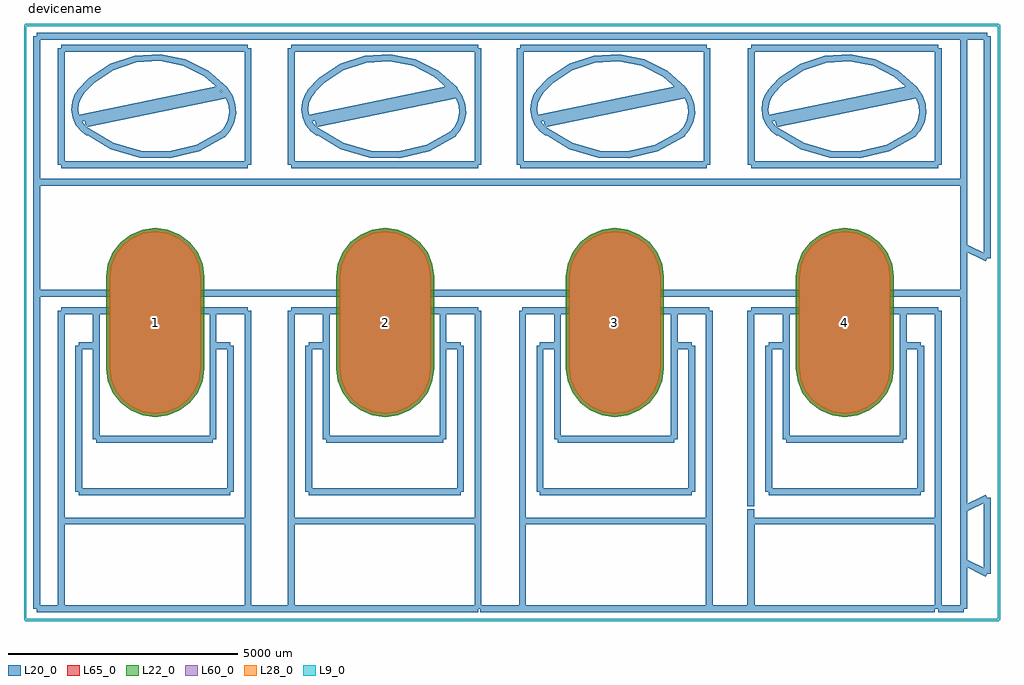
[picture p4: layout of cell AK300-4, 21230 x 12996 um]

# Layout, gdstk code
import gdstk
lib = gdstk.Library(unit=1e-6, precision=1e-09)
def P(c, l, *ps):  # polygons
    for p in ps: c.add(gdstk.Polygon(p, *l))
L9_0 = (9, 0)
L20_0 = (20, 0)
L22_0 = (22, 0)
L28_0 = (28, 0)
L60_0 = (60, 0)
L65_0 = (65, 0)

ak300_4 = lib.new_cell('AK300-4')
P(ak300_4, L22_0, [(10000,-2056.2),(10275.798,-2019.891),(10532.8,-1913.437),(10753.493,-1744.093),(10922.837,-1523.4),(11029.291,-1266.398),(11065.6,-990.6),(11065.6,990.6),(11029.291,1266.398),(10922.837,1523.4),(10753.493,1744.093),(10532.8,1913.437),(10275.798,2019.891),(10000,2056.2),(9724.202,2019.891),(9467.2,1913.437),(9246.507,1744.093),(9077.163,1523.4),(8970.709,1266.398),(8934.4,990.6),(8934.4,-990.6),(8970.709,-1266.398),(9077.163,-1523.4),(9246.507,-1744.093),(9467.2,-1913.437),(9724.202,-2019.891)],
  [(15000,-2056.2),(15275.798,-2019.891),(15532.8,-1913.437),(15753.493,-1744.093),(15922.837,-1523.4),(16029.291,-1266.398),(16065.6,-990.6),(16065.6,990.6),(16029.291,1266.398),(15922.837,1523.4),(15753.493,1744.093),(15532.8,1913.437),(15275.798,2019.891),(15000,2056.2),(14724.202,2019.891),(14467.2,1913.437),(14246.507,1744.093),(14077.163,1523.4),(13970.709,1266.398),(13934.4,990.6),(13934.4,-990.6),(13970.709,-1266.398),(14077.163,-1523.4),(14246.507,-1744.093),(14467.2,-1913.437),(14724.202,-2019.891)],
  [(5000,-2056.2),(5275.798,-2019.891),(5532.8,-1913.437),(5753.493,-1744.093),(5922.837,-1523.4),(6029.291,-1266.398),(6065.6,-990.6),(6065.6,990.6),(6029.291,1266.398),(5922.837,1523.4),(5753.493,1744.093),(5532.8,1913.437),(5275.798,2019.891),(5000,2056.2),(4724.202,2019.891),(4467.2,1913.437),(4246.507,1744.093),(4077.163,1523.4),(3970.709,1266.398),(3934.4,990.6),(3934.4,-990.6),(3970.709,-1266.398),(4077.163,-1523.4),(4246.507,-1744.093),(4467.2,-1913.437),(4724.202,-2019.891)],
  [(0,-2056.2),(275.798,-2019.891),(532.8,-1913.437),(753.493,-1744.093),(922.837,-1523.4),(1029.291,-1266.398),(1065.6,-990.6),(1065.6,990.6),(1029.291,1266.398),(922.837,1523.4),(753.493,1744.093),(532.8,1913.437),(275.798,2019.891),(0,2056.2),(-275.798,2019.891),(-532.8,1913.437),(-753.493,1744.093),(-922.837,1523.4),(-1029.291,1266.398),(-1065.6,990.6),(-1065.6,-990.6),(-1029.291,-1266.398),(-922.837,-1523.4),(-753.493,-1744.093),(-532.8,-1913.437),(-275.798,-2019.891)])
P(ak300_4, L28_0, [(10000,-1981.2),(10256.386,-1947.446),(10495.3,-1848.485),(10700.46,-1691.06),(10857.885,-1485.9),(10956.846,-1246.986),(10990.6,-990.6),(10990.6,990.6),(10956.846,1246.986),(10857.885,1485.9),(10700.46,1691.06),(10495.3,1848.485),(10256.386,1947.446),(10000,1981.2),(9743.614,1947.446),(9504.7,1848.485),(9299.54,1691.06),(9142.115,1485.9),(9043.154,1246.986),(9009.4,990.6),(9009.4,-990.6),(9043.154,-1246.986),(9142.115,-1485.9),(9299.54,-1691.06),(9504.7,-1848.485),(9743.614,-1947.446)],
  [(15000,-1981.2),(15256.386,-1947.446),(15495.3,-1848.485),(15700.46,-1691.06),(15857.885,-1485.9),(15956.846,-1246.986),(15990.6,-990.6),(15990.6,990.6),(15956.846,1246.986),(15857.885,1485.9),(15700.46,1691.06),(15495.3,1848.485),(15256.386,1947.446),(15000,1981.2),(14743.614,1947.446),(14504.7,1848.485),(14299.54,1691.06),(14142.115,1485.9),(14043.154,1246.986),(14009.4,990.6),(14009.4,-990.6),(14043.154,-1246.986),(14142.115,-1485.9),(14299.54,-1691.06),(14504.7,-1848.485),(14743.614,-1947.446)],
  [(5000,-1981.2),(5256.386,-1947.446),(5495.3,-1848.485),(5700.46,-1691.06),(5857.885,-1485.9),(5956.846,-1246.986),(5990.6,-990.6),(5990.6,990.6),(5956.846,1246.986),(5857.885,1485.9),(5700.46,1691.06),(5495.3,1848.485),(5256.386,1947.446),(5000,1981.2),(4743.614,1947.446),(4504.7,1848.485),(4299.54,1691.06),(4142.115,1485.9),(4043.154,1246.986),(4009.4,990.6),(4009.4,-990.6),(4043.154,-1246.986),(4142.115,-1485.9),(4299.54,-1691.06),(4504.7,-1848.485),(4743.614,-1947.446)],
  [(0,-1981.2),(256.386,-1947.446),(495.3,-1848.485),(700.46,-1691.06),(857.885,-1485.9),(956.846,-1246.986),(990.6,-990.6),(990.6,990.6),(956.846,1246.986),(857.885,1485.9),(700.46,1691.06),(495.3,1848.485),(256.386,1947.446),(0,1981.2),(-256.386,1947.446),(-495.3,1848.485),(-700.46,1691.06),(-857.885,1485.9),(-956.846,1246.986),(-990.6,990.6),(-990.6,-990.6),(-956.846,-1246.986),(-857.885,-1485.9),(-700.46,-1691.06),(-495.3,-1848.485),(-256.386,-1947.446)])
P(ak300_4, L60_0, [(10000,-1981.2),(10256.386,-1947.446),(10495.3,-1848.485),(10700.46,-1691.06),(10857.885,-1485.9),(10956.846,-1246.986),(10990.6,-990.6),(10990.6,990.6),(10956.846,1246.986),(10857.885,1485.9),(10700.46,1691.06),(10495.3,1848.485),(10256.386,1947.446),(10000,1981.2),(9743.614,1947.446),(9504.7,1848.485),(9299.54,1691.06),(9142.115,1485.9),(9043.154,1246.986),(9009.4,990.6),(9009.4,-990.6),(9043.154,-1246.986),(9142.115,-1485.9),(9299.54,-1691.06),(9504.7,-1848.485),(9743.614,-1947.446)],
  [(15000,-1981.2),(15256.386,-1947.446),(15495.3,-1848.485),(15700.46,-1691.06),(15857.885,-1485.9),(15956.846,-1246.986),(15990.6,-990.6),(15990.6,990.6),(15956.846,1246.986),(15857.885,1485.9),(15700.46,1691.06),(15495.3,1848.485),(15256.386,1947.446),(15000,1981.2),(14743.614,1947.446),(14504.7,1848.485),(14299.54,1691.06),(14142.115,1485.9),(14043.154,1246.986),(14009.4,990.6),(14009.4,-990.6),(14043.154,-1246.986),(14142.115,-1485.9),(14299.54,-1691.06),(14504.7,-1848.485),(14743.614,-1947.446)],
  [(5000,-1981.2),(5256.386,-1947.446),(5495.3,-1848.485),(5700.46,-1691.06),(5857.885,-1485.9),(5956.846,-1246.986),(5990.6,-990.6),(5990.6,990.6),(5956.846,1246.986),(5857.885,1485.9),(5700.46,1691.06),(5495.3,1848.485),(5256.386,1947.446),(5000,1981.2),(4743.614,1947.446),(4504.7,1848.485),(4299.54,1691.06),(4142.115,1485.9),(4043.154,1246.986),(4009.4,990.6),(4009.4,-990.6),(4043.154,-1246.986),(4142.115,-1485.9),(4299.54,-1691.06),(4504.7,-1848.485),(4743.614,-1947.446)],
  [(0,-1981.2),(256.386,-1947.446),(495.3,-1848.485),(700.46,-1691.06),(857.885,-1485.9),(956.846,-1246.986),(990.6,-990.6),(990.6,990.6),(956.846,1246.986),(857.885,1485.9),(700.46,1691.06),(495.3,1848.485),(256.386,1947.446),(0,1981.2),(-256.386,1947.446),(-495.3,1848.485),(-700.46,1691.06),(-857.885,1485.9),(-956.846,1246.986),(-990.6,990.6),(-990.6,-990.6),(-956.846,-1246.986),(-857.885,-1485.9),(-700.46,-1691.06),(-495.3,-1848.485),(-256.386,-1947.446)])
P(ak300_4, L65_0, [(10000,-2056.2),(10275.798,-2019.891),(10532.8,-1913.437),(10753.493,-1744.093),(10922.837,-1523.4),(11029.291,-1266.398),(11065.6,-990.6),(11065.6,990.6),(11029.291,1266.398),(10922.837,1523.4),(10753.493,1744.093),(10532.8,1913.437),(10275.798,2019.891),(10000,2056.2),(9724.202,2019.891),(9467.2,1913.437),(9246.507,1744.093),(9077.163,1523.4),(8970.709,1266.398),(8934.4,990.6),(8934.4,-990.6),(8970.709,-1266.398),(9077.163,-1523.4),(9246.507,-1744.093),(9467.2,-1913.437),(9724.202,-2019.891)],
  [(15000,-2056.2),(15275.798,-2019.891),(15532.8,-1913.437),(15753.493,-1744.093),(15922.837,-1523.4),(16029.291,-1266.398),(16065.6,-990.6),(16065.6,990.6),(16029.291,1266.398),(15922.837,1523.4),(15753.493,1744.093),(15532.8,1913.437),(15275.798,2019.891),(15000,2056.2),(14724.202,2019.891),(14467.2,1913.437),(14246.507,1744.093),(14077.163,1523.4),(13970.709,1266.398),(13934.4,990.6),(13934.4,-990.6),(13970.709,-1266.398),(14077.163,-1523.4),(14246.507,-1744.093),(14467.2,-1913.437),(14724.202,-2019.891)],
  [(5000,-2056.2),(5275.798,-2019.891),(5532.8,-1913.437),(5753.493,-1744.093),(5922.837,-1523.4),(6029.291,-1266.398),(6065.6,-990.6),(6065.6,990.6),(6029.291,1266.398),(5922.837,1523.4),(5753.493,1744.093),(5532.8,1913.437),(5275.798,2019.891),(5000,2056.2),(4724.202,2019.891),(4467.2,1913.437),(4246.507,1744.093),(4077.163,1523.4),(3970.709,1266.398),(3934.4,990.6),(3934.4,-990.6),(3970.709,-1266.398),(4077.163,-1523.4),(4246.507,-1744.093),(4467.2,-1913.437),(4724.202,-2019.891)],
  [(0,-2056.2),(275.798,-2019.891),(532.8,-1913.437),(753.493,-1744.093),(922.837,-1523.4),(1029.291,-1266.398),(1065.6,-990.6),(1065.6,990.6),(1029.291,1266.398),(922.837,1523.4),(753.493,1744.093),(532.8,1913.437),(275.798,2019.891),(0,2056.2),(-275.798,2019.891),(-532.8,1913.437),(-753.493,1744.093),(-922.837,1523.4),(-1029.291,1266.398),(-1065.6,990.6),(-1065.6,-990.6),(-1029.291,-1266.398),(-922.837,-1523.4),(-753.493,-1744.093),(-532.8,-1913.437),(-275.798,-2019.891)])
ak300_4.add(gdstk.FlexPath([(-1589.519,5051.018),(-1679.716,4925.417),(-1734.332,4780.751),(-1749.645,4626.879),(-1724.61,4474.286),(-1660.935,4333.372),(-1562.959,4213.74),(-1444.62,4127.5)], 149.998, ends="flush", simple_path=True, layer=20, datatype=0))  # L20_0
ak300_4.add(gdstk.FlexPath([(1516.572,5061.846),(1113.322,5417.942),(631.648,5657.535),(104.376,5764.298),(-432.563,5730.955),(-942.576,5559.778),(-1390.907,5262.433),(-1640.2,5003.8)], 149.998, ends="flush", simple_path=True, layer=20, datatype=0))  # L20_0
ak300_4.add(gdstk.FlexPath([(-1485.988,4165.105),(-940.856,3835.404),(-328.966,3658.029),(307.983,3645.066),(926.583,3797.399),(1484.679,4104.647),(1501.78,4117.34)], 149.998, ends="flush", simple_path=True, layer=20, datatype=0))  # L20_0
ak300_4.add(gdstk.FlexPath([(1454.149,4082.89),(1571.23,4217.515),(1649.477,4377.855),(1683.56,4552.984),(1671.154,4730.967),(1613.106,4899.675),(1513.37,5047.609),(1509.4,5052.06)], 149.998, ends="flush", simple_path=True, layer=20, datatype=0))  # L20_0
ak300_4.add(gdstk.FlexPath([(3414.904,5053.481),(3324.048,4927.957),(3268.776,4783.195),(3252.854,4629.061),(3277.368,4476.057),(3340.647,4334.612),(3438.379,4214.364),(3556.64,4127.5)], 149.998, ends="flush", simple_path=True, layer=20, datatype=0))  # L20_0
ak300_4.add(gdstk.FlexPath([(6514.41,5056.844),(6112.485,5412.882),(5632.105,5652.762),(5106.009,5760.137),(4570.048,5727.69),(4060.748,5557.631),(3612.816,5261.55),(3363.6,5003.8)], 149.998, ends="flush", simple_path=True, layer=20, datatype=0))  # L20_0
ak300_4.add(gdstk.FlexPath([(3515.272,4165.105),(4060.404,3835.404),(4672.294,3658.029),(5309.243,3645.066),(5927.843,3797.399),(6485.939,4104.647),(6503.04,4117.34)], 149.998, ends="flush", simple_path=True, layer=20, datatype=0))  # L20_0
ak300_4.add(gdstk.FlexPath([(6457.971,4085.43),(6574.394,4219.974),(6652.026,4380.066),(6685.579,4554.796),(6672.765,4732.256),(6614.458,4900.353),(6514.631,5047.632),(6510.66,5052.06)], 149.998, ends="flush", simple_path=True, layer=20, datatype=0))  # L20_0
ak300_4.add(gdstk.FlexPath([(3338.2,254),(6640.2,254)], 149.998, ends="flush", simple_path=True, layer=20, datatype=0))  # L20_0
ak300_4.add(gdstk.FlexPath([(2957.2,254),(3338.2,254)], 149.998, ends="flush", simple_path=True, layer=20, datatype=0))  # L20_0
ak300_4.add(gdstk.FlexPath([(7021.2,254),(6640.2,254)], 149.998, ends="flush", simple_path=True, layer=20, datatype=0))  # L20_0
ak300_4.add(gdstk.FlexPath([(1636.4,254),(-1665.6,254)], 149.998, ends="flush", simple_path=True, layer=20, datatype=0))  # L20_0
ak300_4.add(gdstk.FlexPath([(2017.4,254),(1636.4,254)], 149.998, ends="flush", simple_path=True, layer=20, datatype=0))  # L20_0
ak300_4.add(gdstk.FlexPath([(-2046.6,254),(-1665.6,254)], 149.998, ends="flush", simple_path=True, layer=20, datatype=0))  # L20_0
ak300_4.add(gdstk.FlexPath([(-1513.2,4318),(1534.8,4953)], 149.998, ends="flush", simple_path=True, layer=20, datatype=0))  # L20_0
ak300_4.add(gdstk.FlexPath([(-1640.2,4445),(1410.34,5080)], 149.998, ends="flush", simple_path=True, layer=20, datatype=0))  # L20_0
ak300_4.add(gdstk.FlexPath([(3490.6,4318),(6538.6,4953)], 149.998, ends="flush", simple_path=True, layer=20, datatype=0))  # L20_0
ak300_4.add(gdstk.FlexPath([(3363.6,4445),(6411.6,5080)], 149.998, ends="flush", simple_path=True, layer=20, datatype=0))  # L20_0
ak300_4.add(gdstk.FlexPath([(2017.4,5969),(-2046.6,5969)], 149.998, ends="flush", simple_path=True, layer=20, datatype=0))  # L20_0
ak300_4.add(gdstk.FlexPath([(-2046.6,3429),(-2046.6,5969)], 149.998, ends="flush", simple_path=True, layer=20, datatype=0))  # L20_0
ak300_4.add(gdstk.FlexPath([(2017.4,3429),(-2046.6,3429)], 149.998, ends="flush", simple_path=True, layer=20, datatype=0))  # L20_0
ak300_4.add(gdstk.FlexPath([(2017.4,3429),(2017.4,5969)], 149.998, ends="flush", simple_path=True, layer=20, datatype=0))  # L20_0
ak300_4.add(gdstk.FlexPath([(7021.2,3429),(2957.2,3429)], 149.998, ends="flush", simple_path=True, layer=20, datatype=0))  # L20_0
ak300_4.add(gdstk.FlexPath([(7021.2,5969),(7021.2,3429)], 149.998, ends="flush", simple_path=True, layer=20, datatype=0))  # L20_0
ak300_4.add(gdstk.FlexPath([(2957.2,5969),(7021.2,5969)], 149.998, ends="flush", simple_path=True, layer=20, datatype=0))  # L20_0
ak300_4.add(gdstk.FlexPath([(2957.2,3429),(2957.2,5969)], 149.998, ends="flush", simple_path=True, layer=20, datatype=0))  # L20_0
ak300_4.add(gdstk.FlexPath([(-2580,3175),(-2580,6223)], 149.998, ends="flush", simple_path=True, layer=20, datatype=0))  # L20_0
ak300_4.add(gdstk.FlexPath([(-2580,635),(-2580,3175)], 149.998, ends="flush", simple_path=True, layer=20, datatype=0))  # L20_0
ak300_4.add(gdstk.FlexPath([(-2580,-6223),(-2580,635)], 149.998, ends="flush", simple_path=True, layer=20, datatype=0))  # L20_0
ak300_4.add(gdstk.FlexPath([(6640.2,-508),(6259.2,-508)], 149.998, ends="flush", simple_path=True, layer=20, datatype=0))  # L20_0
ak300_4.add(gdstk.FlexPath([(3338.2,-508),(3719.2,-508)], 149.998, ends="flush", simple_path=True, layer=20, datatype=0))  # L20_0
ak300_4.add(gdstk.FlexPath([(1636.4,-508),(1255.4,-508)], 149.998, ends="flush", simple_path=True, layer=20, datatype=0))  # L20_0
ak300_4.add(gdstk.FlexPath([(-1665.6,-508),(-1284.6,-508)], 149.998, ends="flush", simple_path=True, layer=20, datatype=0))  # L20_0
ak300_4.add(gdstk.FlexPath([(-1665.6,-3683),(-1665.6,-508)], 149.998, ends="flush", simple_path=True, layer=20, datatype=0))  # L20_0
ak300_4.add(gdstk.FlexPath([(1636.4,-3683),(-1665.6,-3683)], 149.998, ends="flush", simple_path=True, layer=20, datatype=0))  # L20_0
ak300_4.add(gdstk.FlexPath([(1636.4,-3683),(1636.4,-508)], 149.998, ends="flush", simple_path=True, layer=20, datatype=0))  # L20_0
ak300_4.add(gdstk.FlexPath([(3338.2,-3683),(3338.2,-508)], 149.998, ends="flush", simple_path=True, layer=20, datatype=0))  # L20_0
ak300_4.add(gdstk.FlexPath([(6640.2,-3683),(3338.2,-3683)], 149.998, ends="flush", simple_path=True, layer=20, datatype=0))  # L20_0
ak300_4.add(gdstk.FlexPath([(6640.2,-3683),(6640.2,-508)], 149.998, ends="flush", simple_path=True, layer=20, datatype=0))  # L20_0
ak300_4.add(gdstk.FlexPath([(-2046.6,-4318),(-2046.6,-6223)], 149.998, ends="flush", simple_path=True, layer=20, datatype=0))  # L20_0
ak300_4.add(gdstk.FlexPath([(2017.4,-4318),(2017.4,254)], 149.998, ends="flush", simple_path=True, layer=20, datatype=0))  # L20_0
ak300_4.add(gdstk.FlexPath([(2017.4,-4318),(-2046.6,-4318)], 149.998, ends="flush", simple_path=True, layer=20, datatype=0))  # L20_0
ak300_4.add(gdstk.FlexPath([(7021.2,-4318),(7021.2,-6223)], 149.998, ends="flush", simple_path=True, layer=20, datatype=0))  # L20_0
ak300_4.add(gdstk.FlexPath([(2957.2,-4318),(2957.2,254)], 149.998, ends="flush", simple_path=True, layer=20, datatype=0))  # L20_0
ak300_4.add(gdstk.FlexPath([(2957.2,-4318),(7021.2,-4318)], 149.998, ends="flush", simple_path=True, layer=20, datatype=0))  # L20_0
ak300_4.add(gdstk.FlexPath([(-2046.6,-6223),(2017.4,-6223)], 149.998, ends="flush", simple_path=True, layer=20, datatype=0))  # L20_0
ak300_4.add(gdstk.FlexPath([(-2580,-6223),(-2046.6,-6223)], 149.998, ends="flush", simple_path=True, layer=20, datatype=0))  # L20_0
ak300_4.add(gdstk.FlexPath([(-2046.6,254),(-2046.6,-4318)], 149.998, ends="flush", simple_path=True, layer=20, datatype=0))  # L20_0
ak300_4.add(gdstk.FlexPath([(2017.4,-6223),(2957.2,-6223)], 149.998, ends="flush", simple_path=True, layer=20, datatype=0))  # L20_0
ak300_4.add(gdstk.FlexPath([(2017.4,-6223),(2017.4,-4318)], 149.998, ends="flush", simple_path=True, layer=20, datatype=0))  # L20_0
ak300_4.add(gdstk.FlexPath([(2957.2,-6223),(7021.2,-6223)], 149.998, ends="flush", simple_path=True, layer=20, datatype=0))  # L20_0
ak300_4.add(gdstk.FlexPath([(7021.2,254),(7021.2,-4318)], 149.998, ends="flush", simple_path=True, layer=20, datatype=0))  # L20_0
ak300_4.add(gdstk.FlexPath([(2957.2,-6223),(2957.2,-4318)], 149.998, ends="flush", simple_path=True, layer=20, datatype=0))  # L20_0
ak300_4.add(gdstk.FlexPath([(12954.5,-4064),(12954.5,-5207)], 149.998, ends="flush", simple_path=True, layer=20, datatype=0))  # L20_0
ak300_4.add(gdstk.FlexPath([(12954.5,-5207),(12954.5,-6223)], 149.998, ends="flush", simple_path=True, layer=20, datatype=0))  # L20_0
ak300_4.add(gdstk.FlexPath([(3719.2,-2540),(3719.2,254)], 149.998, ends="flush", simple_path=True, layer=20, datatype=0))  # L20_0
ak300_4.add(gdstk.FlexPath([(3719.2,254),(6259.2,254)], 149.998, ends="flush", simple_path=True, layer=20, datatype=0))  # L20_0
ak300_4.add(gdstk.FlexPath([(6259.2,-2540),(6259.2,254)], 149.998, ends="flush", simple_path=True, layer=20, datatype=0))  # L20_0
ak300_4.add(gdstk.FlexPath([(3719.2,-2540),(6259.2,-2540)], 149.998, ends="flush", simple_path=True, layer=20, datatype=0))  # L20_0
ak300_4.add(gdstk.FlexPath([(-1284.6,-2540),(-1284.6,254)], 149.998, ends="flush", simple_path=True, layer=20, datatype=0))  # L20_0
ak300_4.add(gdstk.FlexPath([(-1284.6,254),(1255.4,254)], 149.998, ends="flush", simple_path=True, layer=20, datatype=0))  # L20_0
ak300_4.add(gdstk.FlexPath([(1255.4,-2540),(1255.4,254)], 149.998, ends="flush", simple_path=True, layer=20, datatype=0))  # L20_0
ak300_4.add(gdstk.FlexPath([(-1284.6,-2540),(1255.4,-2540)], 149.998, ends="flush", simple_path=True, layer=20, datatype=0))  # L20_0
ak300_4.add(gdstk.FlexPath([(13729.2,-2540),(16269.2,-2540)], 149.998, ends="flush", simple_path=True, layer=20, datatype=0))  # L20_0
ak300_4.add(gdstk.FlexPath([(16269.2,-2540),(16269.2,254)], 149.998, ends="flush", simple_path=True, layer=20, datatype=0))  # L20_0
ak300_4.add(gdstk.FlexPath([(13729.2,254),(16269.2,254)], 149.998, ends="flush", simple_path=True, layer=20, datatype=0))  # L20_0
ak300_4.add(gdstk.FlexPath([(13729.2,-2540),(13729.2,254)], 149.998, ends="flush", simple_path=True, layer=20, datatype=0))  # L20_0
ak300_4.add(gdstk.FlexPath([(17590,6223),(17590,3175)], 149.998, ends="flush", simple_path=True, layer=20, datatype=0))  # L20_0
ak300_4.add(gdstk.FlexPath([(17590,6223),(18098,6223)], 149.998, ends="flush", simple_path=True, layer=20, datatype=0))  # L20_0
ak300_4.add(gdstk.FlexPath([(18098,6223),(18098,1397)], 149.998, ends="flush", simple_path=True, layer=20, datatype=0))  # L20_0
ak300_4.add(gdstk.FlexPath([(18098,1397),(17590,1651)], 149.998, ends="flush", simple_path=True, layer=20, datatype=0))  # L20_0
ak300_4.add(gdstk.FlexPath([(18098,-5461),(17590,-5207)], 149.998, ends="flush", simple_path=True, layer=20, datatype=0))  # L20_0
ak300_4.add(gdstk.FlexPath([(17590,-5207),(17590,-6223)], 149.998, ends="flush", simple_path=True, layer=20, datatype=0))  # L20_0
ak300_4.add(gdstk.FlexPath([(18098,-3810),(17590,-4064)], 149.998, ends="flush", simple_path=True, layer=20, datatype=0))  # L20_0
ak300_4.add(gdstk.FlexPath([(17590,-4064),(17590,-5207)], 149.998, ends="flush", simple_path=True, layer=20, datatype=0))  # L20_0
ak300_4.add(gdstk.FlexPath([(18098,-3810),(18098,-5461)], 149.998, ends="flush", simple_path=True, layer=20, datatype=0))  # L20_0
ak300_4.add(gdstk.FlexPath([(12967.2,-6223),(12967.2,-4318)], 149.998, ends="flush", simple_path=True, layer=20, datatype=0))  # L20_0
ak300_4.add(gdstk.FlexPath([(17031.2,254),(17031.2,-4318)], 149.998, ends="flush", simple_path=True, layer=20, datatype=0))  # L20_0
ak300_4.add(gdstk.FlexPath([(17031.2,-6223),(17590,-6223)], 149.998, ends="flush", simple_path=True, layer=20, datatype=0))  # L20_0
ak300_4.add(gdstk.FlexPath([(12967.2,-4318),(17031.2,-4318)], 149.998, ends="flush", simple_path=True, layer=20, datatype=0))  # L20_0
ak300_4.add(gdstk.FlexPath([(17031.2,-4318),(17031.2,-6223)], 149.998, ends="flush", simple_path=True, layer=20, datatype=0))  # L20_0
ak300_4.add(gdstk.FlexPath([(16650.2,-3683),(16650.2,-508)], 149.998, ends="flush", simple_path=True, layer=20, datatype=0))  # L20_0
ak300_4.add(gdstk.FlexPath([(16650.2,-3683),(13348.2,-3683)], 149.998, ends="flush", simple_path=True, layer=20, datatype=0))  # L20_0
ak300_4.add(gdstk.FlexPath([(13348.2,-3683),(13348.2,-508)], 149.998, ends="flush", simple_path=True, layer=20, datatype=0))  # L20_0
ak300_4.add(gdstk.FlexPath([(13348.2,-508),(13729.2,-508)], 149.998, ends="flush", simple_path=True, layer=20, datatype=0))  # L20_0
ak300_4.add(gdstk.FlexPath([(16650.2,-508),(16269.2,-508)], 149.998, ends="flush", simple_path=True, layer=20, datatype=0))  # L20_0
ak300_4.add(gdstk.FlexPath([(17590,1651),(17590,635)], 149.998, ends="flush", simple_path=True, layer=20, datatype=0))  # L20_0
ak300_4.add(gdstk.FlexPath([(17590,635),(17590,-4064)], 149.998, ends="flush", simple_path=True, layer=20, datatype=0))  # L20_0
ak300_4.add(gdstk.FlexPath([(17590,3175),(17590,1651)], 149.998, ends="flush", simple_path=True, layer=20, datatype=0))  # L20_0
ak300_4.add(gdstk.FlexPath([(12967.2,3429),(12967.2,5969)], 149.998, ends="flush", simple_path=True, layer=20, datatype=0))  # L20_0
ak300_4.add(gdstk.FlexPath([(12967.2,5969),(17031.2,5969)], 149.998, ends="flush", simple_path=True, layer=20, datatype=0))  # L20_0
ak300_4.add(gdstk.FlexPath([(17031.2,5969),(17031.2,3429)], 149.998, ends="flush", simple_path=True, layer=20, datatype=0))  # L20_0
ak300_4.add(gdstk.FlexPath([(17031.2,3429),(12967.2,3429)], 149.998, ends="flush", simple_path=True, layer=20, datatype=0))  # L20_0
ak300_4.add(gdstk.FlexPath([(13373.6,4445),(16421.6,5080)], 149.998, ends="flush", simple_path=True, layer=20, datatype=0))  # L20_0
ak300_4.add(gdstk.FlexPath([(13500.6,4318),(16548.6,4953)], 149.998, ends="flush", simple_path=True, layer=20, datatype=0))  # L20_0
ak300_4.add(gdstk.FlexPath([(17031.2,254),(16650.2,254)], 149.998, ends="flush", simple_path=True, layer=20, datatype=0))  # L20_0
ak300_4.add(gdstk.FlexPath([(12967.2,254),(13348.2,254)], 149.998, ends="flush", simple_path=True, layer=20, datatype=0))  # L20_0
ak300_4.add(gdstk.FlexPath([(13348.2,254),(16650.2,254)], 149.998, ends="flush", simple_path=True, layer=20, datatype=0))  # L20_0
ak300_4.add(gdstk.FlexPath([(16467.971,4085.43),(16584.394,4219.974),(16662.026,4380.066),(16695.579,4554.796),(16682.765,4732.256),(16624.458,4900.353),(16524.631,5047.632),(16520.66,5052.06)], 149.998, ends="flush", simple_path=True, layer=20, datatype=0))  # L20_0
ak300_4.add(gdstk.FlexPath([(13525.272,4165.105),(14070.404,3835.404),(14682.294,3658.029),(15319.243,3645.066),(15937.843,3797.399),(16495.939,4104.647),(16513.04,4117.34)], 149.998, ends="flush", simple_path=True, layer=20, datatype=0))  # L20_0
ak300_4.add(gdstk.FlexPath([(16524.41,5056.844),(16122.485,5412.882),(15642.105,5652.762),(15116.009,5760.137),(14580.048,5727.69),(14070.748,5557.631),(13622.816,5261.55),(13373.6,5003.8)], 149.998, ends="flush", simple_path=True, layer=20, datatype=0))  # L20_0
ak300_4.add(gdstk.FlexPath([(13424.904,5053.481),(13334.048,4927.957),(13278.776,4783.195),(13262.854,4629.061),(13287.368,4476.057),(13350.647,4334.612),(13448.379,4214.364),(13566.64,4127.5)], 149.998, ends="flush", simple_path=True, layer=20, datatype=0))  # L20_0
ak300_4.add(gdstk.FlexPath([(12954.5,-4000.5),(12954.5,254)], 149.998, ends="flush", simple_path=True, layer=20, datatype=0))  # L20_0
ak300_4.add(gdstk.FlexPath([(12660,635),(-2516.5,635)], 149.998, ends="flush", simple_path=True, layer=20, datatype=0))  # L20_0
ak300_4.add(gdstk.FlexPath([(17740,6223),(-2580,6223)], 149.998, ends="flush", simple_path=True, layer=20, datatype=0))  # L20_0
ak300_4.add(gdstk.FlexPath([(17590,3048),(-2580,3048)], 149.998, ends="flush", simple_path=True, layer=20, datatype=0))  # L20_0
ak300_4.add(gdstk.FlexPath([(13168,-6223),(7072,-6223)], 149.998, ends="flush", simple_path=True, layer=20, datatype=0))  # L20_0
ak300_4.add(gdstk.FlexPath([(16955,-6223),(13018,-6223)], 149.998, ends="flush", simple_path=True, layer=20, datatype=0))  # L20_0
ak300_4.add(gdstk.FlexPath([(7988,254),(12052,254)], 149.998, ends="flush", simple_path=True, layer=20, datatype=0))  # L20_0
ak300_4.add(gdstk.FlexPath([(7988,-6223),(7988,254)], 149.998, ends="flush", simple_path=True, layer=20, datatype=0))  # L20_0
ak300_4.add(gdstk.FlexPath([(12510,635),(17590,635)], 149.998, ends="flush", simple_path=True, layer=20, datatype=0))  # L20_0
ak300_4.add(gdstk.FlexPath([(11671,-508),(11290,-508)], 149.998, ends="flush", simple_path=True, layer=20, datatype=0))  # L20_0
ak300_4.add(gdstk.FlexPath([(11671,-3683),(11671,-508)], 149.998, ends="flush", simple_path=True, layer=20, datatype=0))  # L20_0
ak300_4.add(gdstk.FlexPath([(8369,-3683),(11671,-3683)], 149.998, ends="flush", simple_path=True, layer=20, datatype=0))  # L20_0
ak300_4.add(gdstk.FlexPath([(8369,-508),(8369,-3683)], 149.998, ends="flush", simple_path=True, layer=20, datatype=0))  # L20_0
ak300_4.add(gdstk.FlexPath([(8369,-508),(8750,-508)], 149.998, ends="flush", simple_path=True, layer=20, datatype=0))  # L20_0
ak300_4.add(gdstk.FlexPath([(12052,-6223),(12052,254)], 149.998, ends="flush", simple_path=True, layer=20, datatype=0))  # L20_0
ak300_4.add(gdstk.FlexPath([(7988,-4318),(12052,-4318)], 149.998, ends="flush", simple_path=True, layer=20, datatype=0))  # L20_0
ak300_4.add(gdstk.FlexPath([(8394.904,5053.481),(8304.048,4927.957),(8248.776,4783.195),(8232.854,4629.061),(8257.368,4476.057),(8320.647,4334.612),(8418.379,4214.364),(8536.64,4127.5)], 149.998, ends="flush", simple_path=True, layer=20, datatype=0))  # L20_0
ak300_4.add(gdstk.FlexPath([(11494.41,5056.844),(11092.485,5412.882),(10612.105,5652.762),(10086.009,5760.137),(9550.048,5727.69),(9040.748,5557.631),(8592.816,5261.55),(8343.6,5003.8)], 149.998, ends="flush", simple_path=True, layer=20, datatype=0))  # L20_0
ak300_4.add(gdstk.FlexPath([(8495.272,4165.105),(9040.404,3835.404),(9652.294,3658.029),(10289.243,3645.066),(10907.843,3797.399),(11465.939,4104.647),(11483.04,4117.34)], 149.998, ends="flush", simple_path=True, layer=20, datatype=0))  # L20_0
ak300_4.add(gdstk.FlexPath([(11437.971,4085.43),(11554.394,4219.974),(11632.026,4380.066),(11665.579,4554.796),(11652.765,4732.256),(11594.458,4900.353),(11494.631,5047.632),(11490.66,5052.06)], 149.998, ends="flush", simple_path=True, layer=20, datatype=0))  # L20_0
ak300_4.add(gdstk.FlexPath([(8470.6,4318),(11518.6,4953)], 149.998, ends="flush", simple_path=True, layer=20, datatype=0))  # L20_0
ak300_4.add(gdstk.FlexPath([(8343.6,4445),(11391.6,5080)], 149.998, ends="flush", simple_path=True, layer=20, datatype=0))  # L20_0
ak300_4.add(gdstk.FlexPath([(12001.2,3429),(7937.2,3429)], 149.998, ends="flush", simple_path=True, layer=20, datatype=0))  # L20_0
ak300_4.add(gdstk.FlexPath([(12001.2,5969),(12001.2,3429)], 149.998, ends="flush", simple_path=True, layer=20, datatype=0))  # L20_0
ak300_4.add(gdstk.FlexPath([(7937.2,5969),(12001.2,5969)], 149.998, ends="flush", simple_path=True, layer=20, datatype=0))  # L20_0
ak300_4.add(gdstk.FlexPath([(7937.2,3429),(7937.2,5969)], 149.998, ends="flush", simple_path=True, layer=20, datatype=0))  # L20_0
ak300_4.add(gdstk.FlexPath([(11290,-2540),(11290,254)], 149.998, ends="flush", simple_path=True, layer=20, datatype=0))  # L20_0
ak300_4.add(gdstk.FlexPath([(8750,-2540),(11290,-2540)], 149.998, ends="flush", simple_path=True, layer=20, datatype=0))  # L20_0
ak300_4.add(gdstk.FlexPath([(8750,254),(8750,-2540)], 149.998, ends="flush", simple_path=True, layer=20, datatype=0))  # L20_0
ak300_4.add(gdstk.FlexPath([(-2830,6473),(18350,6473)], 50, ends="flush", simple_path=True, layer=9, datatype=0))  # L9_0
ak300_4.add(gdstk.FlexPath([(-2830,-6473),(18350,-6473)], 50, ends="flush", simple_path=True, layer=9, datatype=0))  # L9_0
ak300_4.add(gdstk.FlexPath([(-2830,6473),(-2830,-6473)], 50, ends="flush", simple_path=True, layer=9, datatype=0))  # L9_0
ak300_4.add(gdstk.FlexPath([(18350,6473),(18350,-6473)], 50, ends="flush", simple_path=True, layer=9, datatype=0))  # L9_0
ak300_4.add(gdstk.Label('3', (10000,0), layer=28, texttype=0))
ak300_4.add(gdstk.Label('4', (15000,0), layer=28, texttype=0))
ak300_4.add(gdstk.Label('2', (5000,0), layer=28, texttype=0))
ak300_4.add(gdstk.Label('1', (0,0), layer=28, texttype=0))
ak300_4.add(gdstk.Label('type', (2754,-7747), layer=9, texttype=0))
ak300_4.add(gdstk.Label('devicename', (-1945,6985), layer=9, texttype=0))

lib.write_gds('AK300-4.gds')
